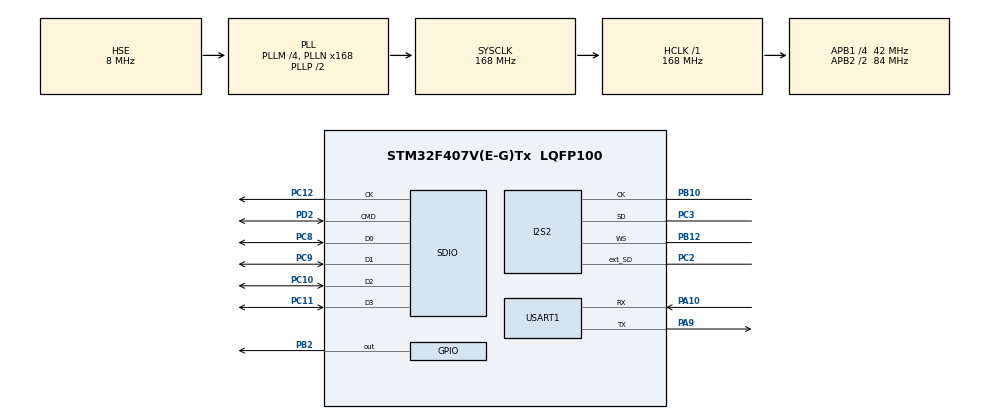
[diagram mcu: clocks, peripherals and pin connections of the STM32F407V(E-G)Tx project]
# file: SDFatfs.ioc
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Dma.Request0=SDIO_RX
Dma.Request1=SDIO_TX
Dma.Request2=SPI2_TX
Dma.SDIO_RX.0.Direction=DMA_PERIPH_TO_MEMORY
Dma.SDIO_RX.0.FIFOMode=DMA_FIFOMODE_ENABLE
Dma.SDIO_RX.0.FIFOThreshold=DMA_FIFO_THRESHOLD_FULL
Dma.SDIO_RX.0.Instance=DMA2_Stream3
Dma.SDIO_RX.0.MemBurst=DMA_MBURST_INC4
Dma.SDIO_RX.0.MemDataAlignment=DMA_MDATAALIGN_WORD
Dma.SDIO_RX.0.MemInc=DMA_MINC_ENABLE
Dma.SDIO_RX.0.Mode=DMA_PFCTRL
Dma.SDIO_RX.0.PeriphBurst=DMA_PBURST_INC4
Dma.SDIO_RX.0.PeriphDataAlignment=DMA_PDATAALIGN_WORD
Dma.SDIO_RX.0.PeriphInc=DMA_PINC_DISABLE
Dma.SDIO_RX.0.Priority=DMA_PRIORITY_HIGH
Dma.SDIO_TX.1.Direction=DMA_MEMORY_TO_PERIPH
Dma.SDIO_TX.1.FIFOMode=DMA_FIFOMODE_ENABLE
Dma.SDIO_TX.1.FIFOThreshold=DMA_FIFO_THRESHOLD_FULL
Dma.SDIO_TX.1.Instance=DMA2_Stream6
Dma.SDIO_TX.1.MemBurst=DMA_MBURST_INC4
Dma.SDIO_TX.1.MemDataAlignment=DMA_MDATAALIGN_WORD
Dma.SDIO_TX.1.MemInc=DMA_MINC_ENABLE
Dma.SDIO_TX.1.Mode=DMA_PFCTRL
Dma.SDIO_TX.1.PeriphBurst=DMA_PBURST_INC4
Dma.SDIO_TX.1.PeriphDataAlignment=DMA_PDATAALIGN_WORD
Dma.SDIO_TX.1.PeriphInc=DMA_PINC_DISABLE
Dma.SDIO_TX.1.Priority=DMA_PRIORITY_HIGH
Dma.SPI2_TX.2.Direction=DMA_MEMORY_TO_PERIPH
Dma.SPI2_TX.2.FIFOMode=DMA_FIFOMODE_DISABLE
Dma.SPI2_TX.2.Instance=DMA1_Stream4
Dma.SPI2_TX.2.MemDataAlignment=DMA_MDATAALIGN_HALFWORD
Dma.SPI2_TX.2.MemInc=DMA_MINC_ENABLE
Dma.SPI2_TX.2.Mode=DMA_CIRCULAR
Dma.SPI2_TX.2.PeriphDataAlignment=DMA_PDATAALIGN_HALFWORD
Dma.SPI2_TX.2.PeriphInc=DMA_PINC_DISABLE
Dma.SPI2_TX.2.Priority=DMA_PRIORITY_LOW
FATFS.USE_DMA_CODE_SD=1
I2S2.AudioFreq=I2S_AUDIOFREQ_44K
I2S2.CPOL=I2S_CPOL_HIGH
I2S2.ErrorAudioFreq=0.26 %
I2S2.FullDuplexMode=I2S_FULLDUPLEXMODE_ENABLE
I2S2.Instance=SPI$Index
I2S2.RealAudioFreq=44.117 KHz
I2S2.VirtualMode=I2S_MODE_MASTER
Mcu.Family=STM32F4
Mcu.Name=STM32F407V(E-G)Tx
Mcu.Package=LQFP100
NVIC.DMA1_Stream4_IRQn=true\:0\:0\:false\:false\:true\:false\:true\:true
NVIC.DMA2_Stream3_IRQn=true\:0\:0\:false\:false\:true\:false\:true\:true
NVIC.DMA2_Stream6_IRQn=true\:0\:0\:false\:false\:true\:false\:true\:true
NVIC.PriorityGroup=NVIC_PRIORITYGROUP_4
NVIC.SDIO_IRQn=true\:0\:0\:false\:false\:true\:true\:true\:true
NVIC.USART1_IRQn=true\:0\:0\:false\:false\:true\:true\:true\:true
PA10.Mode=Asynchronous
PA10.Signal=USART1_RX
PA13.Mode=Serial_Wire
PA13.Signal=SYS_JTMS-SWDIO
PA14.Mode=Serial_Wire
PA14.Signal=SYS_JTCK-SWCLK
PA9.Mode=Asynchronous
PA9.Signal=USART1_TX
PB10.Mode=Full_Duplex_Master
PB10.Signal=I2S2_CK
PB12.Mode=Full_Duplex_Master
PB12.Signal=I2S2_WS
PB2.Signal=GPIO_Output
PC10.Mode=SD_4_bits_Wide_bus
PC10.Signal=SDIO_D2
PC11.Mode=SD_4_bits_Wide_bus
PC11.Signal=SDIO_D3
PC12.Mode=SD_4_bits_Wide_bus
PC12.Signal=SDIO_CK
PC14-OSC32_IN.Mode=LSE-External-Oscillator
PC14-OSC32_IN.Signal=RCC_OSC32_IN
PC15-OSC32_OUT.Mode=LSE-External-Oscillator
PC15-OSC32_OUT.Signal=RCC_OSC32_OUT
PC2.Mode=Full_Duplex_Master
PC2.Signal=I2S2_ext_SD
PC3.Mode=Full_Duplex_Master
PC3.Signal=I2S2_SD
PC8.Mode=SD_4_bits_Wide_bus
PC8.Signal=SDIO_D0
PC9.Mode=SD_4_bits_Wide_bus
PC9.Signal=SDIO_D1
PD2.Mode=SD_4_bits_Wide_bus
PD2.Signal=SDIO_CMD
PH0-OSC_IN.Mode=HSE-External-Oscillator
PH0-OSC_IN.Signal=RCC_OSC_IN
PH1-OSC_OUT.Mode=HSE-External-Oscillator
PH1-OSC_OUT.Signal=RCC_OSC_OUT
ProjectManager.HeapSize=0x400
ProjectManager.StackSize=0x800
ProjectManager.TargetToolchain=MDK-ARM V5.32
RCC.48MHZClocksFreq_Value=48000000
RCC.AHBFreq_Value=168000000
RCC.APB1CLKDivider=RCC_HCLK_DIV4
RCC.APB1Freq_Value=42000000
RCC.APB1TimFreq_Value=84000000
RCC.APB2CLKDivider=RCC_HCLK_DIV2
RCC.APB2Freq_Value=84000000
RCC.APB2TimFreq_Value=168000000
RCC.CortexFreq_Value=168000000
RCC.HCLKFreq_Value=168000000
RCC.HSE_VALUE=8000000
RCC.HSI_VALUE=16000000
RCC.PLLM=4
RCC.PLLN=168
RCC.PLLQ=7
RCC.PLLSourceVirtual=RCC_PLLSOURCE_HSE
RCC.SYSCLKFreq_VALUE=168000000
RCC.SYSCLKSource=RCC_SYSCLKSOURCE_PLLCLK
RCC.VCOOutputFreq_Value=336000000
USART1.VirtualMode=VM_ASYNC
VP_FATFS_VS_SDIO.Mode=SDIO
board=custom

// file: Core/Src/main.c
/* USER CODE BEGIN Header */
/**
  ******************************************************************************
  * @file           : main.c
  * @brief          : Main program body
  ******************************************************************************
  * @attention
  *
  * Copyright (c) 2026 STMicroelectronics.
  * All rights reserved.
  *
  * This software is licensed under terms that can be found in the LICENSE file
  * in the root directory of this software component.
  * If no LICENSE file comes with this software, it is provided AS-IS.
  *
  ******************************************************************************
  */
/* USER CODE END Header */
#include "main.h"
#include "dma.h"
#include "fatfs.h"
#include "i2s.h"
#include "sdio.h"
#include "usart.h"
#include "gpio.h"

/* USER CODE BEGIN Includes */
#include <stdio.h>
#include "wav_player.h"
#include "fatfs_user.h"
/* USER CODE END Includes */

void SystemClock_Config(void);

int main(void)
{

  /* MCU Configuration--------------------------------------------------------*/

  /* Reset of all peripherals, Initializes the Flash interface and the Systick. */
  HAL_Init();

  /* Configure the system clock */
  SystemClock_Config();

  /* Initialize all configured peripherals */
  MX_GPIO_Init();
  MX_DMA_Init();
  MX_SDIO_SD_Init();
  MX_USART1_UART_Init();
  MX_FATFS_Init();
  MX_I2S2_Init();
  /* USER CODE BEGIN 2 */

  if (FATFS_User_Mount() != FR_OK)
  {
    Error_Handler();
  }
  printf("SDIO + FatFs mounted\r\n");

	//遍历整个根目录
	FRESULT result;
	result = FATFS_User_PrintTree("0:/");
	printf("List result: %d\r\n", result);

	printf("--------");

//	char buffer[128];
	UINT read_size;
//	result = FATFS_User_ReadText("0:/TEST.TXT",buffer,sizeof(buffer),&read_size);
//	if (result == FR_OK)
//	{
//			printf("Read %u bytes:\r\n%s", read_size, buffer);
//	}
//	else
//	{
//			printf("Read failed: %d\r\n", result);
//	}
//
	// const char log[] = "This is new strs\r\n";
	// FATFS_User_Append("0:/TEST.TXT", log, sizeof(log) - 1);

	printf("--------");

//	result = FATFS_User_ReadText("0:/TEST.TXT",buffer,sizeof(buffer),&read_size);
//	if (result == FR_OK)
//	{
//			printf("Read %u bytes:\r\n%s", read_size, buffer);
//	}
//	else
//	{
//			printf("Read failed: %d\r\n", result);
//	}

  result = WAV_Player_Start("0:/ZARD.WAV");
  if (result != FR_OK)
  {
    printf("WAV start failed: %d\r\n", result);
  }

  /* USER CODE END 2 */

  /* Infinite loop */
  /* USER CODE BEGIN WHILE */
  while (1)
  {
    WAV_Player_Process();
    /* USER CODE END WHILE */

  }
}

void SystemClock_Config(void)
{
  RCC_OscInitTypeDef RCC_OscInitStruct = {0};
  RCC_ClkInitTypeDef RCC_ClkInitStruct = {0};

  /** Configure the main internal regulator output voltage
  */
  __HAL_RCC_PWR_CLK_ENABLE();
  __HAL_PWR_VOLTAGESCALING_CONFIG(PWR_REGULATOR_VOLTAGE_SCALE1);

  /** Initializes the RCC Oscillators according to the specified parameters
  * in the RCC_OscInitTypeDef structure.
  */
  RCC_OscInitStruct.OscillatorType = RCC_OSCILLATORTYPE_HSE;
  RCC_OscInitStruct.HSEState = RCC_HSE_ON;
  RCC_OscInitStruct.PLL.PLLState = RCC_PLL_ON;
  RCC_OscInitStruct.PLL.PLLSource = RCC_PLLSOURCE_HSE;
  RCC_OscInitStruct.PLL.PLLM = 4;
  RCC_OscInitStruct.PLL.PLLN = 168;
  RCC_OscInitStruct.PLL.PLLP = RCC_PLLP_DIV2;
  RCC_OscInitStruct.PLL.PLLQ = 7;
  if (HAL_RCC_OscConfig(&RCC_OscInitStruct) != HAL_OK)
  {
    Error_Handler();
  }

  /** Initializes the CPU, AHB and APB buses clocks
  */
  RCC_ClkInitStruct.ClockType = RCC_CLOCKTYPE_HCLK|RCC_CLOCKTYPE_SYSCLK
                              |RCC_CLOCKTYPE_PCLK1|RCC_CLOCKTYPE_PCLK2;
  RCC_ClkInitStruct.SYSCLKSource = RCC_SYSCLKSOURCE_PLLCLK;
  RCC_ClkInitStruct.AHBCLKDivider = RCC_SYSCLK_DIV1;
  RCC_ClkInitStruct.APB1CLKDivider = RCC_HCLK_DIV4;
  RCC_ClkInitStruct.APB2CLKDivider = RCC_HCLK_DIV2;

  if (HAL_RCC_ClockConfig(&RCC_ClkInitStruct, FLASH_LATENCY_5) != HAL_OK)
  {
    Error_Handler();
  }
}

void Error_Handler(void)
{
  __disable_irq();
  while (1)
  {
  }
}
